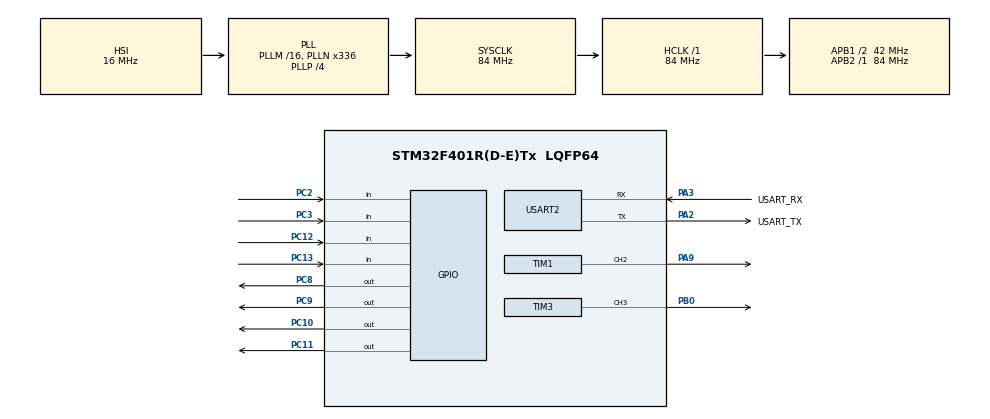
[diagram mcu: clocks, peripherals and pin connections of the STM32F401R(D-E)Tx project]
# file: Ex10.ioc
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Mcu.Family=STM32F4
Mcu.Name=STM32F401R(D-E)Tx
Mcu.Package=LQFP64
NVIC.PriorityGroup=NVIC_PRIORITYGROUP_0
NVIC.TIM1_TRG_COM_TIM11_IRQn=true\:0\:0\:false\:false\:true\:true\:true\:true
NVIC.TIM1_UP_TIM10_IRQn=true\:0\:0\:false\:false\:true\:true\:true\:true
NVIC.TIM3_IRQn=true\:0\:0\:false\:false\:true\:true\:true\:true
PA13.GPIO_Label=TMS
PA13.Mode=Serial_Wire
PA13.Signal=SYS_JTMS-SWDIO
PA14.GPIO_Label=TCK
PA14.Mode=Serial_Wire
PA14.Signal=SYS_JTCK-SWCLK
PA2.GPIO_Label=USART_TX
PA2.GPIO_Mode=GPIO_MODE_AF_PP
PA2.GPIO_PuPd=GPIO_NOPULL
PA2.GPIO_Speed=GPIO_SPEED_FREQ_LOW
PA2.Mode=Asynchronous
PA2.Signal=USART2_TX
PA3.GPIO_Label=USART_RX
PA3.GPIO_Mode=GPIO_MODE_AF_PP
PA3.GPIO_PuPd=GPIO_NOPULL
PA3.GPIO_Speed=GPIO_SPEED_FREQ_LOW
PA3.Mode=Asynchronous
PA3.Signal=USART2_RX
PA9.Signal=S_TIM1_CH2
PB0.Signal=S_TIM3_CH3
PB3.GPIO_Label=SWO
PB3.Signal=SYS_JTDO-SWO
PC10.Signal=GPIO_Output
PC11.Signal=GPIO_Output
PC12.Signal=GPIO_Input
PC13-ANTI_TAMP.Signal=GPIO_Input
PC14-OSC32_IN.Mode=LSE-External-Oscillator
PC14-OSC32_IN.Signal=RCC_OSC32_IN
PC15-OSC32_OUT.Mode=LSE-External-Oscillator
PC15-OSC32_OUT.Signal=RCC_OSC32_OUT
PC2.Signal=GPIO_Input
PC3.Signal=GPIO_Input
PC8.Signal=GPIO_Output
PC9.Signal=GPIO_Output
PH0\ -\ OSC_IN.Mode=HSE-External-Clock-Source
PH0\ -\ OSC_IN.Signal=RCC_OSC_IN
PH1\ -\ OSC_OUT.Mode=HSE-External-Clock-Source
PH1\ -\ OSC_OUT.Signal=RCC_OSC_OUT
ProjectManager.HeapSize=0x200
ProjectManager.StackSize=0x400
ProjectManager.TargetToolchain=STM32CubeIDE
RCC.48MHZClocksFreq_Value=48000000
RCC.AHBFreq_Value=84000000
RCC.APB1CLKDivider=RCC_HCLK_DIV2
RCC.APB1Freq_Value=42000000
RCC.APB1TimFreq_Value=84000000
RCC.APB2Freq_Value=84000000
RCC.APB2TimFreq_Value=84000000
RCC.CortexFreq_Value=84000000
RCC.HCLKFreq_Value=84000000
RCC.HSE_VALUE=8000000
RCC.HSI_VALUE=16000000
RCC.PLLN=336
RCC.PLLP=RCC_PLLP_DIV4
RCC.PLLQ=7
RCC.SYSCLKFreq_VALUE=84000000
RCC.SYSCLKSource=RCC_SYSCLKSOURCE_PLLCLK
RCC.VCOOutputFreq_Value=336000000
SH.S_TIM1_CH2.0=TIM1_CH2,PWM Generation2 CH2
SH.S_TIM3_CH3.0=TIM3_CH3,PWM Generation3 CH3
TIM1.Channel-PWM\ Generation2\ CH2=TIM_CHANNEL_2
TIM1.Period=10-1
TIM1.Prescaler=8400-1
TIM1.TIM_MasterOutputTrigger=TIM_TRGO_UPDATE
TIM10.Period=10-1
TIM10.Prescaler=8400-1
TIM11.Period=5000-1
TIM11.Prescaler=8400-1
TIM3.Channel-PWM\ Generation3\ CH3=TIM_CHANNEL_3
TIM3.Period=197-1
TIM3.Prescaler=1000-1
TIM3.Pulse-PWM\ Generation3\ CH3=95
USART2.VirtualMode=VM_ASYNC
VP_TIM10_VS_ClockSourceINT.Mode=Enable_Timer
VP_TIM11_VS_ClockSourceINT.Mode=Enable_Timer
VP_TIM1_VS_ClockSourceINT.Mode=Internal
VP_TIM3_VS_ClockSourceINT.Mode=Internal
board=NUCLEO-F401RE

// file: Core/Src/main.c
/* USER CODE BEGIN Header */
/**
  ******************************************************************************
  * @file           : main.c
  * @brief          : Main program body
  ******************************************************************************
  * @attention
  *
  * Copyright (c) 2023 STMicroelectronics.
  * All rights reserved.
  *
  * This software is licensed under terms that can be found in the LICENSE file
  * in the root directory of this software component.
  * If no LICENSE file comes with this software, it is provided AS-IS.
  *
  ******************************************************************************
  */
/* USER CODE END Header */
#include "main.h"

/* USER CODE BEGIN PD */
#define RCLK_PIN GPIOB, GPIO_PIN_6
#define TIME_UNIT 1000

/* USER CODE END PD */

TIM_HandleTypeDef htim1;
TIM_HandleTypeDef htim3;
TIM_HandleTypeDef htim10;
TIM_HandleTypeDef htim11;

UART_HandleTypeDef huart2;

/* USER CODE BEGIN PV */
// enable read of rows of the keyboard
volatile int activate;

// struct to keep track of the buttons
typedef struct {
	char value[2];
	GPIO_PinState state;
	int pressed;
	int printed;
}keyboard_t;

// service variables
volatile int state_i = 0;
volatile int state_j = 0;
volatile int column = 0;
int column_index=0;

static void setFrequency(char* note)
{
  TIM_ClockConfigTypeDef sClockSourceConfig = {0};
  TIM_MasterConfigTypeDef sMasterConfig = {0};
  TIM_OC_InitTypeDef sConfigOC = {0};
  TIM_BreakDeadTimeConfigTypeDef sBreakDeadTimeConfig = {0};

  htim1.Instance = TIM1;
  htim1.Init.Prescaler = 100;
  htim1.Init.CounterMode = TIM_COUNTERMODE_UP;
  htim1.Init.Period = getPeriod(note)-1;
  htim1.Init.ClockDivision = TIM_CLOCKDIVISION_DIV1;
  htim1.Init.RepetitionCounter = 0;
  htim1.Init.AutoReloadPreload = TIM_AUTORELOAD_PRELOAD_DISABLE;
  if (HAL_TIM_Base_Init(&htim1) != HAL_OK)
  {
    Error_Handler();
  }
  sClockSourceConfig.ClockSource = TIM_CLOCKSOURCE_INTERNAL;
  if (HAL_TIM_ConfigClockSource(&htim1, &sClockSourceConfig) != HAL_OK)
  {
    Error_Handler();
  }
  if (HAL_TIM_PWM_Init(&htim1) != HAL_OK)
  {
    Error_Handler();
  }
  sMasterConfig.MasterOutputTrigger = TIM_TRGO_RESET;
  sMasterConfig.MasterSlaveMode = TIM_MASTERSLAVEMODE_DISABLE;
  if (HAL_TIMEx_MasterConfigSynchronization(&htim1, &sMasterConfig) != HAL_OK)
  {
    Error_Handler();
  }
  sConfigOC.OCMode = TIM_OCMODE_PWM1;
  sConfigOC.Pulse = (int)getPeriod(note)/2 -1;
  sConfigOC.OCPolarity = TIM_OCPOLARITY_HIGH;
  sConfigOC.OCNPolarity = TIM_OCNPOLARITY_HIGH;
  sConfigOC.OCFastMode = TIM_OCFAST_DISABLE;
  sConfigOC.OCIdleState = TIM_OCIDLESTATE_RESET;
  sConfigOC.OCNIdleState = TIM_OCNIDLESTATE_RESET;
  if (HAL_TIM_PWM_ConfigChannel(&htim1, &sConfigOC, TIM_CHANNEL_2) != HAL_OK)
  {
    Error_Handler();
  }
  sBreakDeadTimeConfig.OffStateRunMode = TIM_OSSR_DISABLE;
  sBreakDeadTimeConfig.OffStateIDLEMode = TIM_OSSI_DISABLE;
  sBreakDeadTimeConfig.LockLevel = TIM_LOCKLEVEL_OFF;
  sBreakDeadTimeConfig.DeadTime = 0;
  sBreakDeadTimeConfig.BreakState = TIM_BREAK_DISABLE;
  sBreakDeadTimeConfig.BreakPolarity = TIM_BREAKPOLARITY_HIGH;
  sBreakDeadTimeConfig.AutomaticOutput = TIM_AUTOMATICOUTPUT_DISABLE;
  if (HAL_TIMEx_ConfigBreakDeadTime(&htim1, &sBreakDeadTimeConfig) != HAL_OK)
  {
    Error_Handler();
  }
  HAL_TIM_MspPostInit(&htim1);
}

int getPeriod(char* note){
	if(strcmp(note, "la")==0)
		return 1909;
	else if (strcmp(note, "la#")==0)
			return 1802;
	else if (strcmp(note, "si")==0)
			return 1700;
	else if (strcmp(note, "do")==0)
			return 3206;
	else if (strcmp(note, "do#")==0)
			return 3032;
	else if (strcmp(note, "re")==0)
			return 2857;
	else if (strcmp(note, "re5")==0)
				return 1431;
	else if (strcmp(note, "re#")==0)
			return 2700;
	else if (strcmp(note, "mi")==0)
			return 2545;
	else if (strcmp(note, "fa")==0)
			return 2406;
	else if (strcmp(note, "fa#")==0)
			return 2270;
	else if (strcmp(note, "sol")==0)
			return 2142;
	else if (strcmp(note, "sol#")==0)
			return 2024;
}
void setNote (char* note, int delay){
	setFrequency(note);
	HAL_TIM_PWM_Start(&htim1, TIM_CHANNEL_2);
	HAL_Delay(delay);
	HAL_TIM_PWM_Stop(&htim1, TIM_CHANNEL_2);
}
void play_zero(){
	 setNote("sol", (int)TIME_UNIT * 3/8);
}
void play_three(){
	 setNote("la", (int)TIME_UNIT * 3/8);
}
void play_c(){
	 setNote("si", (int)TIME_UNIT * 3/8);
}
void play_f(){
	 setNote("do", (int)TIME_UNIT * 3/8);
}
volatile const uint16_t COLUMN_PIN[]= {
	GPIO_PIN_8,
	GPIO_PIN_9,
	GPIO_PIN_10,
	GPIO_PIN_11
};

// send to remote terminal
volatile char message[32];
volatile int length = 0;
/* USER CODE END PV */

void SystemClock_Config(void);
static void MX_GPIO_Init(void);
static void MX_USART2_UART_Init(void);
static void MX_TIM1_Init(void);
static void MX_TIM11_Init(void);
static void MX_TIM10_Init(void);
static void MX_TIM3_Init(void);
/* USER CODE BEGIN PFP */

void HAL_TIM_PeriodElapsedCallback(TIM_HandleTypeDef *htim){
	if(htim==&htim10)
		activate = 1;
	if (htim==&htim11)
		HAL_TIM_PWM_Stop(&htim3, TIM_CHANNEL_3);
}
/* USER CODE END PFP */

int main(void)
{

  /* MCU Configuration--------------------------------------------------------*/

  /* Reset of all peripherals, Initializes the Flash interface and the Systick. */
  HAL_Init();

  /* Configure the system clock */
  SystemClock_Config();

  /* Initialize all configured peripherals */
  MX_GPIO_Init();
  MX_USART2_UART_Init();
  MX_TIM1_Init();
  MX_TIM11_Init();
  MX_TIM10_Init();
  MX_TIM3_Init();
  /* USER CODE BEGIN 2 */

  keyboard_t data[4][4];
  for(int i = 0; i < 4; i++) {
    for(int j = 0; j < 4; j++) {
	    data[i][j].state = GPIO_PIN_SET;
	    data[i][j].value[1] = '\0';
	    data[i][j].pressed = 0;
	    data[i][j].printed = 0;
    }
  }

  data[0][0].value[0] = '0';
  data[0][1].value[0] = '1';
  data[0][2].value[0] = '2';
  data[0][3].value[0] = '3';
  data[1][0].value[0] = '4';
  data[1][1].value[0] = '5';
  data[1][2].value[0] = '6';
  data[1][3].value[0] = '7';
  data[2][0].value[0] = '8';
  data[2][1].value[0] = '9';
  data[2][2].value[0] = 'A';
  data[2][3].value[0] = 'B';
  data[3][0].value[0] = 'C';
  data[3][1].value[0] = 'D';
  data[3][2].value[0] = 'E';
  data[3][3].value[0] = 'F';

  HAL_GPIO_WritePin(GPIOC, GPIO_PIN_8, GPIO_PIN_RESET);
  HAL_GPIO_WritePin(GPIOC, GPIO_PIN_9, GPIO_PIN_RESET);
  HAL_GPIO_WritePin(GPIOC, GPIO_PIN_10, GPIO_PIN_RESET);
  HAL_GPIO_WritePin(GPIOC, GPIO_PIN_11, GPIO_PIN_RESET);

  HAL_TIM_Base_Start_IT(&htim10);
  HAL_TIM_Base_Start_IT(&htim11);
  /* USER CODE END 2 */

  /* Infinite loop */
  /* USER CODE BEGIN WHILE */
  while (1)
  {
	  	HAL_GPIO_WritePin(GPIOC, COLUMN_PIN[column], GPIO_PIN_SET);

	  	if(activate) {
	  		activate = 0;
			data[state_i][state_j].state = HAL_GPIO_ReadPin(GPIOC, GPIO_PIN_12);
			state_i++;
			data[state_i][state_j].state = HAL_GPIO_ReadPin(GPIOC, GPIO_PIN_13);
			state_i++;
			data[state_i][state_j].state = HAL_GPIO_ReadPin(GPIOC, GPIO_PIN_2);
			state_i++;
			data[state_i][state_j].state = HAL_GPIO_ReadPin(GPIOC, GPIO_PIN_3);
			state_i = 0;
			HAL_GPIO_WritePin(GPIOC, COLUMN_PIN[column], GPIO_PIN_RESET);

			column++;
			if(column > 3) {
				column = 0;
			}

			state_j++;
			if(state_j > 3) {
				state_j = 0;
			}

			for(int i = 0; i < 4; i++) {
				for(int j = 0; j < 4; j++) {
					if(data[i][j].state == GPIO_PIN_SET) {
						data[i][j].pressed = 0;
						data[i][j].printed = 0;
					}
				}
			}

			for(int i = 0; i < 4; i++) {
				for(int j = 0; j < 4; j++) {
					if(data[i][j].state == GPIO_PIN_RESET) {
						length = snprintf(message, 32, "%s ", data[i][j].value);
						data[i][j].pressed = 1;
					}

					if(data[i][j].pressed && !data[i][j].printed){
						HAL_UART_Transmit(&huart2, message, length, 50);
						data[i][j].printed = 1;
						switch (data[i][j].value[0]){
							case '0': play_zero();
								break;
							case '3': play_three();
								break;
							case 'C': play_c();
								break;
							case 'F': play_f();
								break;
							default:
								HAL_TIM_PWM_Start_IT(&htim3, TIM_CHANNEL_3);
						}

					}
				}
			}
	  	}
    /* USER CODE END WHILE */

  }
}

void SystemClock_Config(void)
{
  RCC_OscInitTypeDef RCC_OscInitStruct = {0};
  RCC_ClkInitTypeDef RCC_ClkInitStruct = {0};

  /** Configure the main internal regulator output voltage
  */
  __HAL_RCC_PWR_CLK_ENABLE();
  __HAL_PWR_VOLTAGESCALING_CONFIG(PWR_REGULATOR_VOLTAGE_SCALE2);

  /** Initializes the RCC Oscillators according to the specified parameters
  * in the RCC_OscInitTypeDef structure.
  */
  RCC_OscInitStruct.OscillatorType = RCC_OSCILLATORTYPE_HSI;
  RCC_OscInitStruct.HSIState = RCC_HSI_ON;
  RCC_OscInitStruct.HSICalibrationValue = RCC_HSICALIBRATION_DEFAULT;
  RCC_OscInitStruct.PLL.PLLState = RCC_PLL_ON;
  RCC_OscInitStruct.PLL.PLLSource = RCC_PLLSOURCE_HSI;
  RCC_OscInitStruct.PLL.PLLM = 16;
  RCC_OscInitStruct.PLL.PLLN = 336;
  RCC_OscInitStruct.PLL.PLLP = RCC_PLLP_DIV4;
  RCC_OscInitStruct.PLL.PLLQ = 7;
  if (HAL_RCC_OscConfig(&RCC_OscInitStruct) != HAL_OK)
  {
    Error_Handler();
  }

  /** Initializes the CPU, AHB and APB buses clocks
  */
  RCC_ClkInitStruct.ClockType = RCC_CLOCKTYPE_HCLK|RCC_CLOCKTYPE_SYSCLK
                              |RCC_CLOCKTYPE_PCLK1|RCC_CLOCKTYPE_PCLK2;
  RCC_ClkInitStruct.SYSCLKSource = RCC_SYSCLKSOURCE_PLLCLK;
  RCC_ClkInitStruct.AHBCLKDivider = RCC_SYSCLK_DIV1;
  RCC_ClkInitStruct.APB1CLKDivider = RCC_HCLK_DIV2;
  RCC_ClkInitStruct.APB2CLKDivider = RCC_HCLK_DIV1;

  if (HAL_RCC_ClockConfig(&RCC_ClkInitStruct, FLASH_LATENCY_2) != HAL_OK)
  {
    Error_Handler();
  }
}

static void MX_TIM1_Init(void)
{

  TIM_ClockConfigTypeDef sClockSourceConfig = {0};
  TIM_MasterConfigTypeDef sMasterConfig = {0};
  TIM_OC_InitTypeDef sConfigOC = {0};
  TIM_BreakDeadTimeConfigTypeDef sBreakDeadTimeConfig = {0};

  htim1.Instance = TIM1;
  htim1.Init.Prescaler = 8400-1;
  htim1.Init.CounterMode = TIM_COUNTERMODE_UP;
  htim1.Init.Period = 10-1;
  htim1.Init.ClockDivision = TIM_CLOCKDIVISION_DIV1;
  htim1.Init.RepetitionCounter = 0;
  htim1.Init.AutoReloadPreload = TIM_AUTORELOAD_PRELOAD_DISABLE;
  if (HAL_TIM_Base_Init(&htim1) != HAL_OK)
  {
    Error_Handler();
  }
  sClockSourceConfig.ClockSource = TIM_CLOCKSOURCE_INTERNAL;
  if (HAL_TIM_ConfigClockSource(&htim1, &sClockSourceConfig) != HAL_OK)
  {
    Error_Handler();
  }
  if (HAL_TIM_PWM_Init(&htim1) != HAL_OK)
  {
    Error_Handler();
  }
  sMasterConfig.MasterOutputTrigger = TIM_TRGO_UPDATE;
  sMasterConfig.MasterSlaveMode = TIM_MASTERSLAVEMODE_DISABLE;
  if (HAL_TIMEx_MasterConfigSynchronization(&htim1, &sMasterConfig) != HAL_OK)
  {
    Error_Handler();
  }
  sConfigOC.OCMode = TIM_OCMODE_PWM1;
  sConfigOC.Pulse = 0;
  sConfigOC.OCPolarity = TIM_OCPOLARITY_HIGH;
  sConfigOC.OCNPolarity = TIM_OCNPOLARITY_HIGH;
  sConfigOC.OCFastMode = TIM_OCFAST_DISABLE;
  sConfigOC.OCIdleState = TIM_OCIDLESTATE_RESET;
  sConfigOC.OCNIdleState = TIM_OCNIDLESTATE_RESET;
  if (HAL_TIM_PWM_ConfigChannel(&htim1, &sConfigOC, TIM_CHANNEL_2) != HAL_OK)
  {
    Error_Handler();
  }
  sBreakDeadTimeConfig.OffStateRunMode = TIM_OSSR_DISABLE;
  sBreakDeadTimeConfig.OffStateIDLEMode = TIM_OSSI_DISABLE;
  sBreakDeadTimeConfig.LockLevel = TIM_LOCKLEVEL_OFF;
  sBreakDeadTimeConfig.DeadTime = 0;
  sBreakDeadTimeConfig.BreakState = TIM_BREAK_DISABLE;
  sBreakDeadTimeConfig.BreakPolarity = TIM_BREAKPOLARITY_HIGH;
  sBreakDeadTimeConfig.AutomaticOutput = TIM_AUTOMATICOUTPUT_DISABLE;
  if (HAL_TIMEx_ConfigBreakDeadTime(&htim1, &sBreakDeadTimeConfig) != HAL_OK)
  {
    Error_Handler();
  }
  HAL_TIM_MspPostInit(&htim1);

}

static void MX_TIM3_Init(void)
{

  TIM_ClockConfigTypeDef sClockSourceConfig = {0};
  TIM_MasterConfigTypeDef sMasterConfig = {0};
  TIM_OC_InitTypeDef sConfigOC = {0};

  htim3.Instance = TIM3;
  htim3.Init.Prescaler = 1000-1;
  htim3.Init.CounterMode = TIM_COUNTERMODE_UP;
  htim3.Init.Period = 197-1;
  htim3.Init.ClockDivision = TIM_CLOCKDIVISION_DIV1;
  htim3.Init.AutoReloadPreload = TIM_AUTORELOAD_PRELOAD_DISABLE;
  if (HAL_TIM_Base_Init(&htim3) != HAL_OK)
  {
    Error_Handler();
  }
  sClockSourceConfig.ClockSource = TIM_CLOCKSOURCE_INTERNAL;
  if (HAL_TIM_ConfigClockSource(&htim3, &sClockSourceConfig) != HAL_OK)
  {
    Error_Handler();
  }
  if (HAL_TIM_PWM_Init(&htim3) != HAL_OK)
  {
    Error_Handler();
  }
  sMasterConfig.MasterOutputTrigger = TIM_TRGO_RESET;
  sMasterConfig.MasterSlaveMode = TIM_MASTERSLAVEMODE_DISABLE;
  if (HAL_TIMEx_MasterConfigSynchronization(&htim3, &sMasterConfig) != HAL_OK)
  {
    Error_Handler();
  }
  sConfigOC.OCMode = TIM_OCMODE_PWM1;
  sConfigOC.Pulse = 95;
  sConfigOC.OCPolarity = TIM_OCPOLARITY_HIGH;
  sConfigOC.OCFastMode = TIM_OCFAST_DISABLE;
  if (HAL_TIM_PWM_ConfigChannel(&htim3, &sConfigOC, TIM_CHANNEL_3) != HAL_OK)
  {
    Error_Handler();
  }
  HAL_TIM_MspPostInit(&htim3);

}

static void MX_TIM10_Init(void)
{

  htim10.Instance = TIM10;
  htim10.Init.Prescaler = 8400-1;
  htim10.Init.CounterMode = TIM_COUNTERMODE_UP;
  htim10.Init.Period = 10-1;
  htim10.Init.ClockDivision = TIM_CLOCKDIVISION_DIV1;
  htim10.Init.AutoReloadPreload = TIM_AUTORELOAD_PRELOAD_DISABLE;
  if (HAL_TIM_Base_Init(&htim10) != HAL_OK)
  {
    Error_Handler();
  }

}

static void MX_TIM11_Init(void)
{

  htim11.Instance = TIM11;
  htim11.Init.Prescaler = 8400-1;
  htim11.Init.CounterMode = TIM_COUNTERMODE_UP;
  htim11.Init.Period = 5000-1;
  htim11.Init.ClockDivision = TIM_CLOCKDIVISION_DIV1;
  htim11.Init.AutoReloadPreload = TIM_AUTORELOAD_PRELOAD_DISABLE;
  if (HAL_TIM_Base_Init(&htim11) != HAL_OK)
  {
    Error_Handler();
  }

}

static void MX_USART2_UART_Init(void)
{

  huart2.Instance = USART2;
  huart2.Init.BaudRate = 115200;
  huart2.Init.WordLength = UART_WORDLENGTH_8B;
  huart2.Init.StopBits = UART_STOPBITS_1;
  huart2.Init.Parity = UART_PARITY_NONE;
  huart2.Init.Mode = UART_MODE_TX_RX;
  huart2.Init.HwFlowCtl = UART_HWCONTROL_NONE;
  huart2.Init.OverSampling = UART_OVERSAMPLING_16;
  if (HAL_UART_Init(&huart2) != HAL_OK)
  {
    Error_Handler();
  }

}

static void MX_GPIO_Init(void)
{
  GPIO_InitTypeDef GPIO_InitStruct = {0};

  /* GPIO Ports Clock Enable */
  __HAL_RCC_GPIOC_CLK_ENABLE();
  __HAL_RCC_GPIOH_CLK_ENABLE();
  __HAL_RCC_GPIOA_CLK_ENABLE();
  __HAL_RCC_GPIOB_CLK_ENABLE();

  /*Configure GPIO pin Output Level */
  HAL_GPIO_WritePin(GPIOC, GPIO_PIN_8|GPIO_PIN_9|GPIO_PIN_10|GPIO_PIN_11, GPIO_PIN_RESET);

  /*Configure GPIO pins : PC13 PC2 PC3 PC12 */
  GPIO_InitStruct.Pin = GPIO_PIN_13|GPIO_PIN_2|GPIO_PIN_3|GPIO_PIN_12;
  GPIO_InitStruct.Mode = GPIO_MODE_INPUT;
  GPIO_InitStruct.Pull = GPIO_NOPULL;
  HAL_GPIO_Init(GPIOC, &GPIO_InitStruct);

  /*Configure GPIO pins : PC8 PC9 PC10 PC11 */
  GPIO_InitStruct.Pin = GPIO_PIN_8|GPIO_PIN_9|GPIO_PIN_10|GPIO_PIN_11;
  GPIO_InitStruct.Mode = GPIO_MODE_OUTPUT_PP;
  GPIO_InitStruct.Pull = GPIO_NOPULL;
  GPIO_InitStruct.Speed = GPIO_SPEED_FREQ_LOW;
  HAL_GPIO_Init(GPIOC, &GPIO_InitStruct);

}

void Error_Handler(void)
{
  __disable_irq();
  while (1)
  {
  }
}
